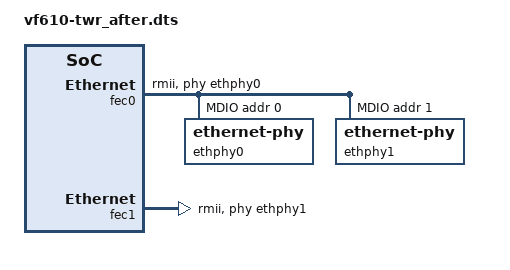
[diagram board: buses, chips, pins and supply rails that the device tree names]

&fec0 {
	phy-mode = "rmii";
	phy-handle = <&ethphy0>;
	pinctrl-names = "default";
	pinctrl-0 = <&pinctrl_fec0>;
	status = "okay";

	mdio {
		#address-cells = <1>;
		#size-cells = <0>;

		ethphy0: ethernet-phy@0 {
			reg = <0>;
		};

		ethphy1: ethernet-phy@1 {
			reg = <1>;
		};
	};
};

&fec1 {
	phy-mode = "rmii";
	phy-handle = <&ethphy1>;
	pinctrl-names = "default";
	pinctrl-0 = <&pinctrl_fec1>;
	status = "okay";
};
